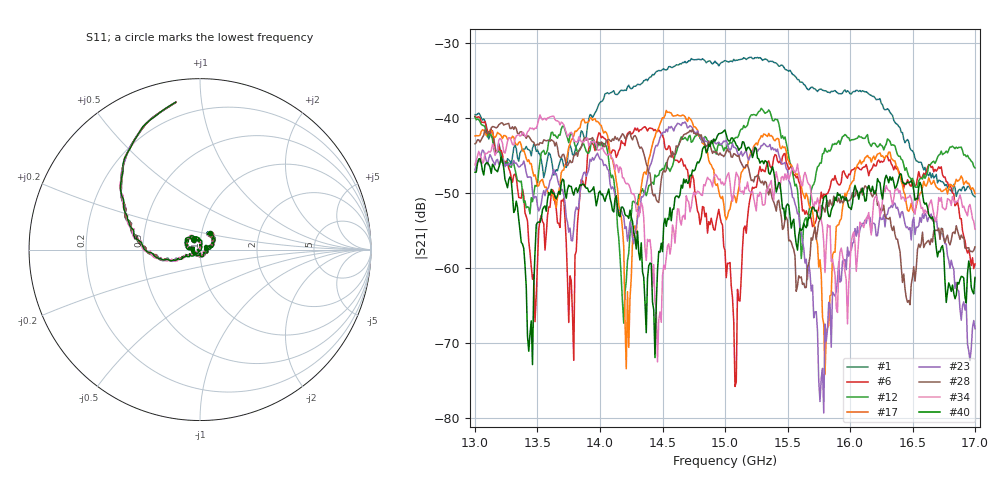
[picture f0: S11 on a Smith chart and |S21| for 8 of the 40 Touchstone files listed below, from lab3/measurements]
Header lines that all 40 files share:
!Keysight Technologies,P9374A,MY57211807,A.19.30.04
!Correction: S11(C  2-Port  )
!S21(C  2-Port  )
!S12(C  2-Port  )
!S22(C  2-Port  )
!S2P File: Measurements: S11, S21, S12, S22:
# Hz S  dB  R 50
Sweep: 13 GHz to 17 GHz
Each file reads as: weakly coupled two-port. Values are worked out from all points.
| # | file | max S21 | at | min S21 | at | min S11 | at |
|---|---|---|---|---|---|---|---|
| 1 | 1x8ap-12.s2p | -31.85 dB | 15.21 GHz | -50.5 dB | 17 GHz | -48.6 dB | 15.6 GHz |
| 2 | 1x8ap-14.s2p | -33.00 dB | 15.26 GHz | -52.4 dB | 16.63 GHz | -59.4 dB | 15.62 GHz |
| 3 | 1x8ap-16.s2p | -34.25 dB | 14.5 GHz | -57.7 dB | 13.65 GHz | -46.9 dB | 15.61 GHz |
| 4 | 1x8ap-18.s2p | -36.45 dB | 14.68 GHz | -68.9 dB | 13.72 GHz | -50.9 dB | 15.62 GHz |
| 5 | 1x8ap-20.s2p | -38.76 dB | 14.46 GHz | -83.3 dB | 16.95 GHz | -57.4 dB | 15.62 GHz |
| 6 | 1x8ap-22.s2p | -39.73 dB | 13 GHz | -75.8 dB | 15.08 GHz | -52.5 dB | 15.62 GHz |
| 7 | 1x8ap-24.s2p | -39.98 dB | 13.03 GHz | -74.1 dB | 13.45 GHz | -45.1 dB | 15.61 GHz |
| 8 | 1x8ap-26.s2p | -39.52 dB | 13.03 GHz | -77.2 dB | 14.61 GHz | -53.1 dB | 15.62 GHz |
| 9 | 1x8ap-28.s2p | -39.51 dB | 15.33 GHz | -68.5 dB | 14.55 GHz | -50.6 dB | 15.62 GHz |
| 10 | 1x8ap-30.s2p | -38.83 dB | 15.29 GHz | -75.4 dB | 14.5 GHz | -52.2 dB | 15.6 GHz |
| 11 | 1x8ap-32.s2p | -38.44 dB | 15.29 GHz | -64.6 dB | 14.18 GHz | -52.4 dB | 15.62 GHz |
| 12 | 1x8ap-34.s2p | -38.66 dB | 15.29 GHz | -67.3 dB | 14.19 GHz | -50.7 dB | 15.62 GHz |
| 13 | 1x8ap-38.s2p | -39.27 dB | 13.01 GHz | -76.3 dB | 14.16 GHz | -56.7 dB | 15.62 GHz |
| 14 | 1x8ap-40.s2p | -39.17 dB | 13 GHz | -63.8 dB | 14.19 GHz | -58.7 dB | 15.61 GHz |
| 15 | 1x8ap-42.s2p | -39.28 dB | 14.55 GHz | -61.1 dB | 14.2 GHz | -51.2 dB | 15.62 GHz |
| 16 | 1x8ap-44.s2p | -38.92 dB | 14.53 GHz | -58.4 dB | 14.2 GHz | -51.6 dB | 15.62 GHz |
| 17 | 1x8ap-46.s2p | -38.95 dB | 14.53 GHz | -74.2 dB | 15.8 GHz | -51.0 dB | 15.62 GHz |
| 18 | 1x8ap-48.s2p | -39.59 dB | 14.62 GHz | -70.5 dB | 14.29 GHz | -53.9 dB | 15.61 GHz |
| 19 | 1x8ap-50.s2p | -39.60 dB | 14.56 GHz | -62.2 dB | 14.28 GHz | -44.8 dB | 15.62 GHz |
| 20 | 1x8ap-52.s2p | -39.82 dB | 14.62 GHz | -73.1 dB | 16.87 GHz | -50.7 dB | 15.61 GHz |
| 21 | 1x8ap-54.s2p | -40.26 dB | 14.71 GHz | -68.1 dB | 16.99 GHz | -52.4 dB | 15.62 GHz |
| 22 | 1x8ap-56.s2p | -39.78 dB | 14.61 GHz | -76.7 dB | 15.92 GHz | -50.5 dB | 15.61 GHz |
| 23 | 1x8ap-58.s2p | -40.48 dB | 14.68 GHz | -79.3 dB | 15.79 GHz | -50.8 dB | 15.62 GHz |
| 24 | 1x8ap-60.s2p | -41.67 dB | 14.55 GHz | -76.2 dB | 15.62 GHz | -47.6 dB | 15.62 GHz |
| 25 | 1x8ap-62.s2p | -42.40 dB | 14.62 GHz | -71.3 dB | 15.5 GHz | -48.4 dB | 15.61 GHz |
| 26 | 1x8ap-64.s2p | -42.28 dB | 13.22 GHz | -81.2 dB | 14.34 GHz | -46.7 dB | 15.59 GHz |
| 27 | 1x8ap-66.s2p | -40.59 dB | 13.21 GHz | -57.4 dB | 16.46 GHz | -50.6 dB | 15.61 GHz |
| 28 | 1x8ap-68.s2p | -40.60 dB | 13.21 GHz | -64.9 dB | 16.48 GHz | -53.9 dB | 15.61 GHz |
| 29 | 1x8ap-70.s2p | -40.91 dB | 13.21 GHz | -65.8 dB | 16.39 GHz | -51.8 dB | 15.62 GHz |
| 30 | 1x8b2.s2p | -28.93 dB | 15.06 GHz | -51.6 dB | 17 GHz | -47.0 dB | 13.77 GHz |
| 31 | 1x8b4.s2p | -30.91 dB | 15.07 GHz | -52.4 dB | 17 GHz | -51.6 dB | 15.62 GHz |
| 32 | 1x8b6.s2p | -34.08 dB | 15.07 GHz | -52.2 dB | 17 GHz | -41.6 dB | 15.6 GHz |
| 33 | 1x8b8.s2p | -37.17 dB | 13.52 GHz | -62.1 dB | 15.58 GHz | -47.7 dB | 15.61 GHz |
| 34 | 1x8b10.s2p | -39.56 dB | 13.52 GHz | -72.5 dB | 14.46 GHz | -49.8 dB | 15.62 GHz |
| 35 | 1x8b12.s2p | -41.12 dB | 15.1 GHz | -68.4 dB | 16.04 GHz | -54.4 dB | 15.6 GHz |
| 36 | 1x8b14.s2p | -40.13 dB | 15.11 GHz | -76.3 dB | 16.1 GHz | -42.5 dB | 15.6 GHz |
| 37 | 1x8b16.s2p | -40.87 dB | 14.61 GHz | -90.9 dB | 16.19 GHz | -45.4 dB | 15.6 GHz |
| 38 | 1x8b18.s2p | -43.56 dB | 13.21 GHz | -65.2 dB | 15.85 GHz | -49.3 dB | 15.6 GHz |
| 39 | 1x8b20.s2p | -44.65 dB | 13.03 GHz | -76.8 dB | 15.53 GHz | -45.6 dB | 15.6 GHz |
| 40 | 1x8b22.s2p | -41.55 dB | 15 GHz | -72.9 dB | 13.46 GHz | -43.8 dB | 15.65 GHz |
